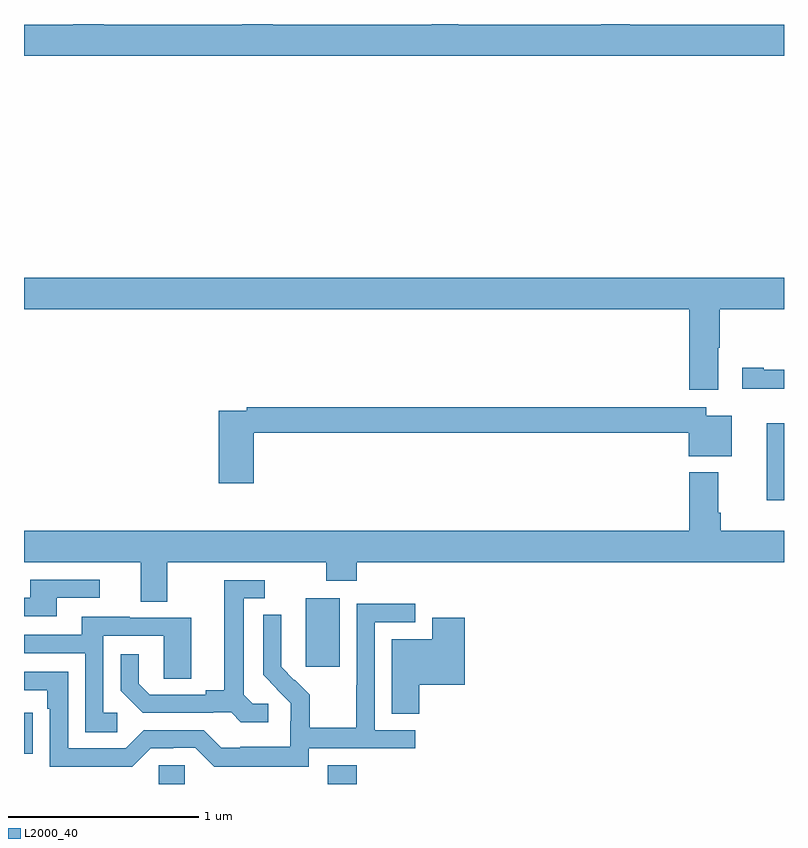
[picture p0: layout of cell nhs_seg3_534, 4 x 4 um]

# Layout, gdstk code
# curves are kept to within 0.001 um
import gdstk
lib = gdstk.Library(unit=1e-6, precision=1e-09)
def R(c, l, rs):  # rectangles x0, y0, x1, y1
    for r in rs: c.add(gdstk.rectangle(r[:2], r[2:], *l))
def P(c, l, *ps):  # polygons
    for p in ps: c.add(gdstk.Polygon(p, *l))
L2000_40 = (2000, 40)

nhs_seg3_534 = lib.new_cell('nhs_seg3_534')
R(nhs_seg3_534, L2000_40, [(137.709,714.4,137.847,714.498), (138.599,714.4,138.752,714.499), (137,714.558,137.045,714.776), (138.482,715.017,138.661,715.378), (140.909,715.893,141,716.299)])
P(nhs_seg3_534, L2000_40, [(141,718.396),(140.187,718.396),(140.187,718.4),(140.039,718.4),(140.039,718.396),(139.285,718.396),(139.285,718.4),(139.145,718.4),(139.145,718.396),(138.309,718.396),(138.309,718.4),(138.149,718.4),(138.149,718.396),(137.42,718.396),(137.42,718.4),(137.26,718.4),(137.26,718.396),(137,718.396),(137,718.232),(141,718.232)],
  [(140.653,716.696),(140.661,716.696),(140.661,716.9),(141,716.9),(141,717.064),(137,717.064),(137,716.9),(140.501,716.9),(140.501,716.475),(140.653,716.475)],
  [(141,716.58),(140.893,716.58),(140.893,716.59),(140.781,716.59),(140.781,716.48),(141,716.48)],
  [(138.209,716.248),(140.498,716.248),(140.498,716.126),(140.725,716.126),(140.725,716.338),(140.592,716.338),(140.592,716.384),(138.172,716.384),(138.172,716.364),(138.026,716.364),(138.026,715.983),(138.209,715.983)],
  [(137.755,715.568),(138.592,715.568),(138.592,715.469),(138.752,715.469),(138.752,715.568),(141,715.568),(141,715.732),(140.666,715.732),(140.666,715.828),(140.653,715.828),(140.653,716.041),(140.501,716.041),(140.501,715.732),(137,715.732),(137,715.568),(137.615,715.568),(137.615,715.36),(137.755,715.36)],
  [(137.173,715.38),(137.398,715.38),(137.398,715.476),(137.033,715.476),(137.033,715.38),(137,715.38),(137,715.284),(137.173,715.284)],
  [(138.286,714.822),(138.204,714.822),(138.157,714.869),(138.157,715.377),(138.268,715.377),(138.268,715.473),(138.053,715.473),(138.053,714.893),(137.957,714.893),(137.957,714.87),(137.662,714.87),(137.605,714.927),(137.605,715.084),(137.508,715.084),(137.508,714.89),(137.624,714.774),(137.996,714.774),(137.996,714.777),(138.09,714.777),(138.142,714.725),(138.286,714.725)],
  [(138.498,714.588),(139.06,714.588),(139.06,714.684),(138.846,714.684),(138.846,715.251),(139.06,715.251),(139.06,715.35),(138.75,715.35),(138.75,714.92),(138.748,714.92),(138.748,714.697),(138.503,714.697),(138.503,714.871),(138.426,714.948),(138.423,714.945),(138.353,715.016),(138.354,715.292),(138.258,715.292),(138.258,714.974),(138.404,714.826),(138.404,714.729),(138.402,714.729),(138.402,714.595),(138.139,714.595),(138.139,714.591),(138.039,714.591),(137.946,714.684),(137.631,714.684),(137.535,714.588),(137.232,714.588),(137.232,714.99),(137,714.99),(137,714.894),(137.123,714.894),(137.123,714.797),(137.136,714.797),(137.136,714.492),(137.571,714.492),(137.667,714.588),(137.786,714.588),(137.786,714.591),(137.901,714.591),(138.001,714.491),(138.498,714.491)],
  [(137.491,714.774),(137.418,714.774),(137.418,715.179),(137.736,715.179),(137.736,714.955),(137.881,714.955),(137.881,715.275),(137.557,715.275),(137.557,715.279),(137.303,715.279),(137.303,715.185),(137,715.185),(137,715.089),(137.322,715.089),(137.322,714.673),(137.491,714.673)],
  [(139.079,714.923),(139.319,714.923),(139.319,715.276),(139.148,715.276),(139.148,715.162),(138.935,715.162),(138.935,714.769),(139.079,714.769)])

lib.write_gds('nhs_seg3_534.gds')
